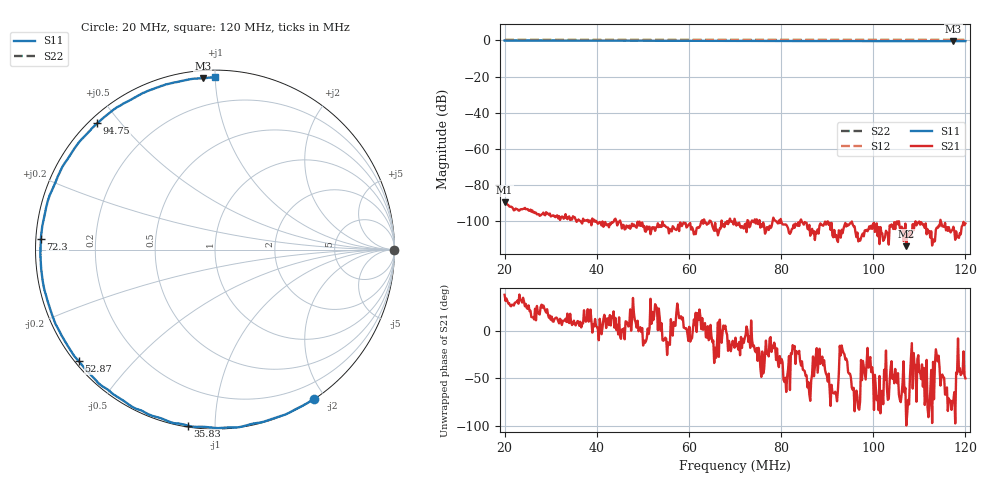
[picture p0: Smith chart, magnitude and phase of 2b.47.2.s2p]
! Anritsu VNA Master:  Model: MS2036C/10/77
! SN:  1601066
! /card0/usr/18may27.balun/252b.47.2.s2p
! Existing Calibration Information:
! TYPE:  Current Settings,  Active Cal Settings
! TIME:  05/27/2018 12:29:02 PM,  05/27/2018 12:21:44 PM
! INTERNAL TEMP:  53.8 C,  53.3 C
! # POINTS:  500,  500
! START FREQ:  20.000 MHz,  20.000 MHz
! STOP FREQ:  120.000 MHz,  120.000 MHz
! SOURCE POWER:  High,  High
! IFBW:  50 Hz,  50 Hz
! AVG FACTOR:  1 ,  1
! REF PLANE 1:  0 mm,  0 mm
! REF PLANE 2:  0 mm,  0 mm
! CAL TYPE:  Full S11,  Full S11
! CAL METHOD:  SOLT,  SOLT
! CAL LINE TYPE:  Coax,  Coax
! DUT PORT 1:  K-Conn(M),  K-Conn(M)
! DUT PORT 2:  K-Conn(M),  K-Conn(M)
! CAL STATUS:  OK: Accuracy High,  --
# GHZ S DB R 50.0
! FREQ.GHZ  S11DB  S11A  S21DB  S21A  S12DB  S12A  S22DB  S22A
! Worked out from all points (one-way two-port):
!   500 points, 20 MHz to 120 MHz, reference 50 ohm
!   highest |S21| = -89.70 dB at 20 MHz (marker M1); lowest = -113.9 dB at 107.2 MHz (marker M2)
!   lowest |S11| = -0.4 dB at 117.4 MHz (marker M3), VSWR 45.42, Z = 2.05 + j46.5 ohm
!   |S11| at or under -10 dB: nowhere
!   |S22| runs from 0.0 to 0.0 dB; largest |S21 - S12| = 1
!   S11 on the Smith chart (normalised r, x): 20 MHz: 0.01, -1.86; 35.83 MHz: 0.01, -0.86; 52.87 MHz: 0.01, -0.36; 72.3 MHz: 0.01, +0.03; 94.75 MHz: 0.02, +0.43; 120 MHz: 0.04, +1.00
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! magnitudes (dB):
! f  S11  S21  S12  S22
! 20 MHz  0.0  -89.7  0.0  0.0
! 23.81 MHz  0.0  -93.5  0.0  0.0
! 27.82 MHz  -0.1  -96.8  0.0  0.0
! 29.62 MHz  0.0  -96.5  0.0  0.0
! 33.63 MHz  -0.1  -98.9  0.0  0.0
! 35.83 MHz  -0.1  -99.7  0.0  0.0
! 36.83 MHz  -0.1  -101.4  0.0  0.0
! 37.84 MHz  -0.1  -99.8  0.0  0.0
! 41.84 MHz  -0.1  -100.5  0.0  0.0
! 43.25 MHz  -0.1  -100.6  0.0  0.0
! 47.05 MHz  -0.2  -102.5  0.0  0.0
! 48.66 MHz  -0.1  -103.6  0.0  0.0
! 52.87 MHz  -0.2  -103.5  0.0  0.0
! 53.47 MHz  -0.2  -103.3  0.0  0.0
! 70.1 MHz  -0.2  -100.7  0.0  0.0
! 72.3 MHz  -0.2  -101.4  0.0  0.0
! 86.73 MHz  -0.3  -104.3  0.0  0.0
! 94.75 MHz  -0.3  -102.0  0.0  0.0
! 103.4 MHz  -0.4  -113.0  0.0  0.0
! 107.2 MHz  -0.4  -113.9  0.0  0.0
! 117.4 MHz  -0.4  -103.1  0.0  0.0
! 120 MHz  -0.4  -101.3  0.0  0.0
